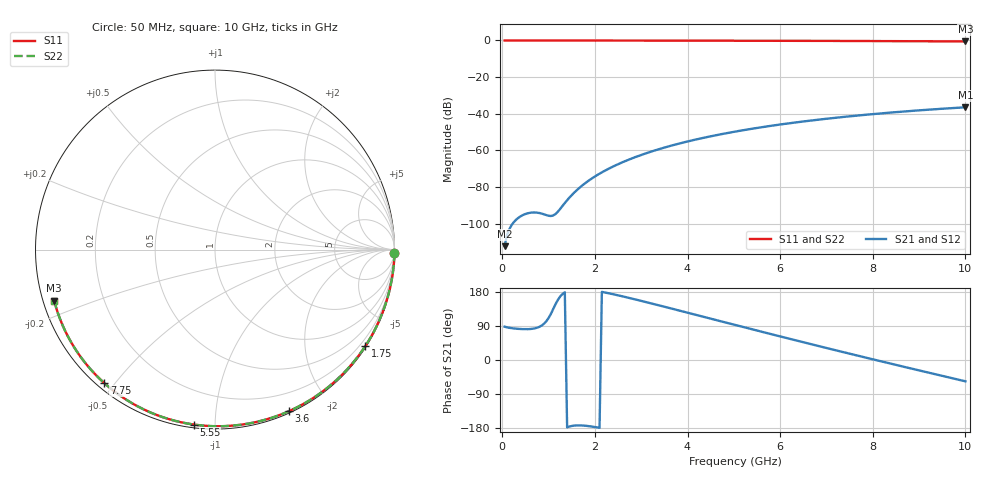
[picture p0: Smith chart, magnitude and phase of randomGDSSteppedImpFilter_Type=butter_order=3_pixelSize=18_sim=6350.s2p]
! freq	dB(S11)	phase(S11)	dB(S12)	phase(S12)
!  dB(S21)	phase(S21)	dB(S22)	phase(S22)
!S-par simulation data
#  GHz  S  DB  R 50
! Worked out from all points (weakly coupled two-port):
!   200 points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, 50 MHz to 10 GHz, reference 50 ohm
!   highest |S21| = -36.50 dB at 10 GHz (marker M1); lowest = -112.3 dB at 50 MHz (marker M2)
!   lowest |S11| = -0.5 dB at 10 GHz (marker M3), VSWR 32.34, Z = 1.58 - j7.74 ohm
!   |S11| at or under -10 dB: nowhere
!   |S22| runs from -0.5 to 0.0 dB; largest |S21 - S12| = 0
!   S11 on the Smith chart (normalised r, x): 50 MHz: open; 1.75 GHz: 0.03, -3.40; 3.6 GHz: 0.02, -1.56; 5.55 GHz: 0.02, -0.89; 7.75 GHz: 0.02, -0.47; 10 GHz: 0.03, -0.15
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0.05  -0.00 -1.0  -112.34 88.0  -112.34 88.0  -0.00 -1.0
0.45  -0.01 -8.6  -95.28 81.5  -95.28 81.5  -0.01 -8.6
0.85  -0.02 -16.1  -94.55 90.8  -94.55 90.8  -0.02 -16.1
1.65  -0.04 -30.9  -80.81 -172.6  -80.81 -172.6  -0.04 -30.9
1.7  -0.04 -31.8  -79.73 -172.7  -79.73 -172.7  -0.04 -31.8
1.75  -0.04 -32.7  -78.72 -173.1  -78.72 -173.1  -0.04 -32.7
1.9  -0.05 -35.5  -75.94 -175.0  -75.94 -175.0  -0.05 -35.5
2.05  -0.05 -38.2  -73.50 -177.9  -73.50 -177.9  -0.05 -38.2
2.25  -0.05 -41.8  -70.65 177.3  -70.65 177.3  -0.05 -41.8
2.45  -0.06 -45.4  -68.15 172.0  -68.15 172.0  -0.06 -45.4
2.9  -0.07 -53.3  -63.44 159.0  -63.44 159.0  -0.07 -53.3
3.4  -0.08 -62.0  -59.24 143.7  -59.24 143.7  -0.08 -62.0
3.6  -0.09 -65.4  -57.78 137.5  -57.78 137.5  -0.09 -65.4
4.3  -0.11 -77.0  -53.42 115.4  -53.42 115.4  -0.11 -77.0
5.05  -0.14 -89.1  -49.67 91.8  -49.67 91.8  -0.14 -89.1
5.55  -0.16 -96.9  -47.58 76.2  -47.58 76.2  -0.16 -96.9
6.1  -0.19 -105.3  -45.55 59.2  -45.55 59.2  -0.19 -105.3
6.7  -0.22 -114.3  -43.63 40.8  -43.63 40.8  -0.22 -114.3
7.75  -0.30 -129.7  -40.81 9.2  -40.81 9.2  -0.30 -129.7
8.35  -0.35 -138.4  -39.46 -8.5  -39.46 -8.5  -0.35 -138.4
9.2  -0.44 -150.6  -37.80 -33.2  -37.80 -33.2  -0.44 -150.6
10  -0.54 -162.4  -36.50 -56.2  -36.50 -56.2  -0.54 -162.4
